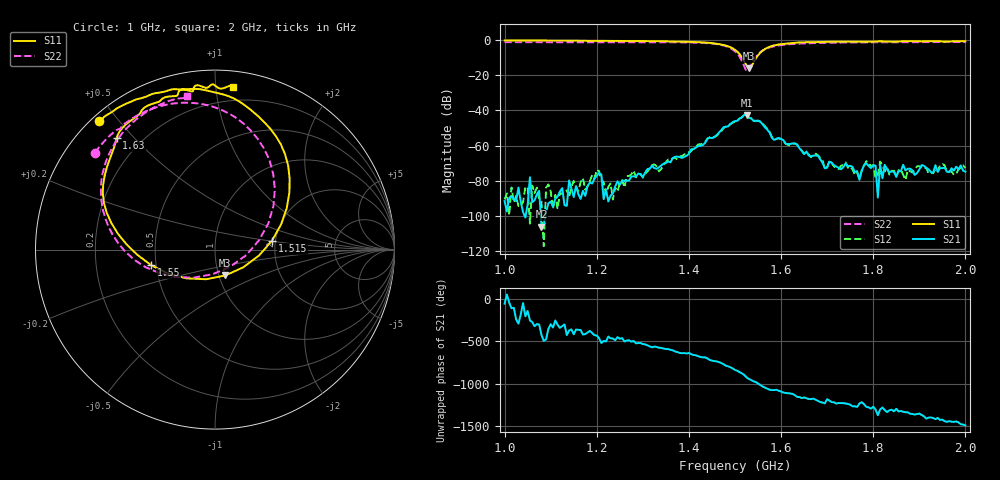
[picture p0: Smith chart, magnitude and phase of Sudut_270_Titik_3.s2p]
# Hz S RI R 50
! CMT, C1220, 16058040, 17.2.0/1
! Date: 14/08/2018 12:40:43
! Data: Format (Calibration Info)
! Freq  S11: Re/Im (F2)  S21: Re/Im (F2)  S12: Re/Im (F2)  S22: Re/Im (F2)
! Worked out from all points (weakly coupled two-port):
!   201 points, 1 GHz to 2 GHz, reference 50 ohm
!   highest |S21| = -42.56 dB at 1.525 GHz (marker M1); lowest = -106.0 dB at 1.08 GHz (marker M2)
!   lowest |S11| = -16.2 dB at 1.53 GHz (marker M3), VSWR 1.37, Z = 53.7 - j15.9 ohm
!   |S11| at or under -10 dB: 1.515 GHz to 1.547 GHz (31.32 MHz wide, 2.05 % of centre)
!   |S22| runs from -17.9 to -1.2 dB; largest |S21 - S12| = 0.00028
!   S11 on the Smith chart (normalised r, x): 1 GHz: 0.02, +0.44; 1.515 GHz: 1.91, +0.21; 1.55 GHz: 0.47, -0.09; 1.63 GHz: 0.11, +0.45; 2 GHz: 0.10, +1.11
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1e9  -0.6471 0.7138  1.63e-05 -2.09e-05  -1.11e-05 2.74e-05  -0.6705 0.5409
1.08e9  -0.5626 0.7743  2.34e-06 -4.42e-06  -2.58e-05 4.11e-06  -0.6238 0.5954
1.17e9  -0.4721 0.8227  2.73e-05 -4.43e-05  0.000119 1.31e-05  -0.5583 0.6584
1.335e9  -0.2095 0.893  -0.0002 0.000134  -0.000155 0.000101  -0.3737 0.7757
1.45e9  0.1879 0.7876  0.00161 -0.000207  0.00164 -0.000353  0.0183 0.7854
1.5e9  0.4146 0.3197  -0.00228 -0.0044  -0.00215 -0.0042  0.3336 0.3375
1.515e9  0.3171 0.0492  -0.0058 -0.00243  -0.00582 -0.00261  0.2458 0.053
1.525e9  0.1582 -0.0983  -0.00681 0.00301  -0.00695 0.00297  0.0859 -0.0945
1.53e9  0.0577 -0.144  -0.0045 0.00428  -0.00453 0.00426  -0.0136 -0.1375
1.55e9  -0.3558 -0.0868  0.000603 0.00504  0.000374 0.00509  -0.3838 -0.0995
1.63e9  -0.5485 0.6201  0.000638 -0.000957  0.000682 -0.000928  -0.6153 0.4653
1.67e9  -0.435 0.7429  -5.43e-05 -0.000517  -8.7e-05 -0.000565  -0.5632 0.583
1.755e9  -0.277 0.8489  -0.000248 2.96e-05  -0.000206 2.91e-05  -0.4523 0.7139
1.77e9  -0.2352 0.8545  -9.63e-05 -4.5e-05  -0.000113 9.71e-06  -0.4344 0.729
1.785e9  -0.2093 0.8596  -0.000306 7.43e-05  -0.000359 2.89e-05  -0.4152 0.7431
1.805e9  -0.1978 0.8858  -0.000192 0.00019  -1.96e-06 0.000122  -0.391 0.7605
1.81e9  -0.1902 0.8901  1.27e-05 3.08e-05  -0.000127 7.08e-05  -0.3852 0.7646
1.815e9  -0.1801 0.8916  -0.000197 0.000195  -0.000341 7.9e-05  -0.379 0.7681
1.82e9  -0.1679 0.8905  -0.000111 4.2e-05  -0.000121 0.000242  -0.3732 0.7715
1.825e9  -0.1545 0.888  -0.000174 0.000222  -0.000142 0.000119  -0.3673 0.7751
1.835e9  -0.1322 0.8816  -0.000101 0.00014  -2.34e-05 0.000148  -0.3556 0.7822
2e9  0.1029 0.9064  0.000107 -0.000146  0.000117 -0.000196  -0.1559 0.854
